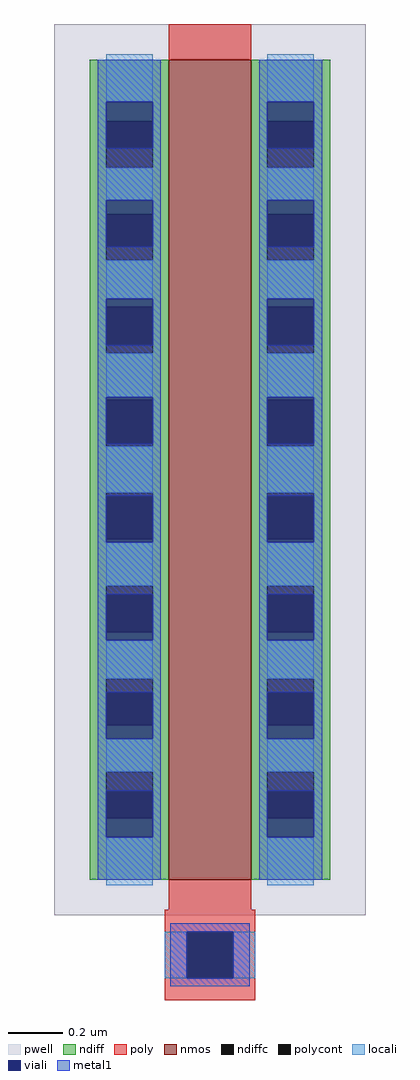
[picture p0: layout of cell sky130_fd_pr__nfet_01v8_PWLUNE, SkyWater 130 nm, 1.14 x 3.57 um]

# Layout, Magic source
magic
tech sky130A
magscale 1 2
<< pwell >>
rect -114 -295 114 357
<< nmos >>
rect -30 -269 30 331
<< ndiff >>
rect -88 286 -30 331
rect -88 252 -76 286
rect -42 252 -30 286
rect -88 218 -30 252
rect -88 184 -76 218
rect -42 184 -30 218
rect -88 150 -30 184
rect -88 116 -76 150
rect -42 116 -30 150
rect -88 82 -30 116
rect -88 48 -76 82
rect -42 48 -30 82
rect -88 14 -30 48
rect -88 -20 -76 14
rect -42 -20 -30 14
rect -88 -54 -30 -20
rect -88 -88 -76 -54
rect -42 -88 -30 -54
rect -88 -122 -30 -88
rect -88 -156 -76 -122
rect -42 -156 -30 -122
rect -88 -190 -30 -156
rect -88 -224 -76 -190
rect -42 -224 -30 -190
rect -88 -269 -30 -224
rect 30 286 88 331
rect 30 252 42 286
rect 76 252 88 286
rect 30 218 88 252
rect 30 184 42 218
rect 76 184 88 218
rect 30 150 88 184
rect 30 116 42 150
rect 76 116 88 150
rect 30 82 88 116
rect 30 48 42 82
rect 76 48 88 82
rect 30 14 88 48
rect 30 -20 42 14
rect 76 -20 88 14
rect 30 -54 88 -20
rect 30 -88 42 -54
rect 76 -88 88 -54
rect 30 -122 88 -88
rect 30 -156 42 -122
rect 76 -156 88 -122
rect 30 -190 88 -156
rect 30 -224 42 -190
rect 76 -224 88 -190
rect 30 -269 88 -224
<< ndiffc >>
rect -76 252 -42 286
rect -76 184 -42 218
rect -76 116 -42 150
rect -76 48 -42 82
rect -76 -20 -42 14
rect -76 -88 -42 -54
rect -76 -156 -42 -122
rect -76 -224 -42 -190
rect 42 252 76 286
rect 42 184 76 218
rect 42 116 76 150
rect 42 48 76 82
rect 42 -20 76 14
rect 42 -88 76 -54
rect 42 -156 76 -122
rect 42 -224 76 -190
<< poly >>
rect -30 331 30 357
rect -30 -291 30 -269
rect -33 -307 33 -291
rect -33 -341 -17 -307
rect 17 -341 33 -307
rect -33 -357 33 -341
<< polycont >>
rect -17 -341 17 -307
<< locali >>
rect -76 300 -42 335
rect -76 228 -42 252
rect -76 156 -42 184
rect -76 84 -42 116
rect -76 14 -42 48
rect -76 -54 -42 -22
rect -76 -122 -42 -94
rect -76 -190 -42 -166
rect -76 -273 -42 -238
rect 42 300 76 335
rect 42 228 76 252
rect 42 156 76 184
rect 42 84 76 116
rect 42 14 76 48
rect 42 -54 76 -22
rect 42 -122 76 -94
rect 42 -190 76 -166
rect 42 -273 76 -238
rect -33 -341 -17 -307
rect 17 -341 33 -307
<< viali >>
rect -76 286 -42 300
rect -76 266 -42 286
rect -76 218 -42 228
rect -76 194 -42 218
rect -76 150 -42 156
rect -76 122 -42 150
rect -76 82 -42 84
rect -76 50 -42 82
rect -76 -20 -42 12
rect -76 -22 -42 -20
rect -76 -88 -42 -60
rect -76 -94 -42 -88
rect -76 -156 -42 -132
rect -76 -166 -42 -156
rect -76 -224 -42 -204
rect -76 -238 -42 -224
rect 42 286 76 300
rect 42 266 76 286
rect 42 218 76 228
rect 42 194 76 218
rect 42 150 76 156
rect 42 122 76 150
rect 42 82 76 84
rect 42 50 76 82
rect 42 -20 76 12
rect 42 -22 76 -20
rect 42 -88 76 -60
rect 42 -94 76 -88
rect 42 -156 76 -132
rect 42 -166 76 -156
rect 42 -224 76 -204
rect 42 -238 76 -224
rect -17 -341 17 -307
<< metal1 >>
rect -82 300 -36 331
rect -82 266 -76 300
rect -42 266 -36 300
rect -82 228 -36 266
rect -82 194 -76 228
rect -42 194 -36 228
rect -82 156 -36 194
rect -82 122 -76 156
rect -42 122 -36 156
rect -82 84 -36 122
rect -82 50 -76 84
rect -42 50 -36 84
rect -82 12 -36 50
rect -82 -22 -76 12
rect -42 -22 -36 12
rect -82 -60 -36 -22
rect -82 -94 -76 -60
rect -42 -94 -36 -60
rect -82 -132 -36 -94
rect -82 -166 -76 -132
rect -42 -166 -36 -132
rect -82 -204 -36 -166
rect -82 -238 -76 -204
rect -42 -238 -36 -204
rect -82 -269 -36 -238
rect 36 300 82 331
rect 36 266 42 300
rect 76 266 82 300
rect 36 228 82 266
rect 36 194 42 228
rect 76 194 82 228
rect 36 156 82 194
rect 36 122 42 156
rect 76 122 82 156
rect 36 84 82 122
rect 36 50 42 84
rect 76 50 82 84
rect 36 12 82 50
rect 36 -22 42 12
rect 76 -22 82 12
rect 36 -60 82 -22
rect 36 -94 42 -60
rect 76 -94 82 -60
rect 36 -132 82 -94
rect 36 -166 42 -132
rect 76 -166 82 -132
rect 36 -204 82 -166
rect 36 -238 42 -204
rect 76 -238 82 -204
rect 36 -269 82 -238
rect -29 -307 29 -301
rect -29 -341 -17 -307
rect 17 -341 29 -307
rect -29 -347 29 -341
<< end >>
